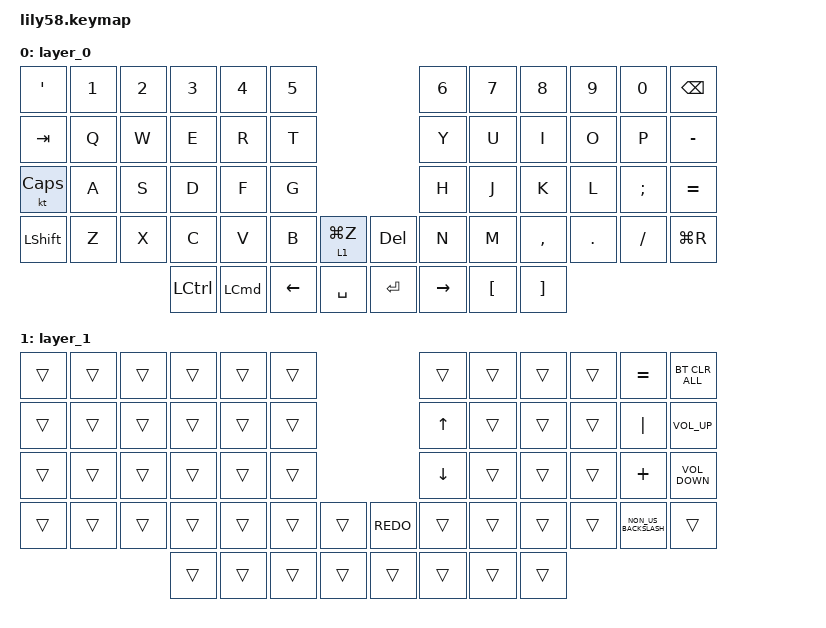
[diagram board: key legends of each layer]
#include <behaviors.dtsi>
#include <dt-bindings/zmk/bt.h>
#include <dt-bindings/zmk/keys.h>

/ {
    keymap {
        compatible = "zmk,keymap";

        layer_0 {
            bindings = <
&kp SINGLE_QUOTE  &kp NUMBER_1  &kp NUMBER_2  &kp NUMBER_3      &kp NUMBER_4      &kp N5                                     &kp NUMBER_6  &kp NUMBER_7      &kp N8             &kp NUMBER_9  &kp N0         &kp BSPC
&kp TAB           &kp Q         &kp W         &kp E             &kp R             &kp T                                      &kp Y         &kp U             &kp I              &kp O         &kp P          &kp MINUS
&kt CAPSLOCK      &kp A         &kp S         &kp D             &kp F             &kp G                                      &kp H         &kp J             &kp K              &kp L         &kp SEMICOLON  &kp EQUAL
&kp LEFT_SHIFT    &kp Z         &kp X         &kp C             &kp V             &kp B           &lt 1 LG(Z)    &kp DELETE  &kp N         &kp M             &kp COMMA          &kp PERIOD    &kp SLASH      &kp LG(R)
                                              &kp LEFT_CONTROL  &kp LEFT_COMMAND  &kp LEFT_ARROW  &kp SPACE      &kp ENTER   &kp RIGHT     &kp LEFT_BRACKET  &kp RIGHT_BRACKET
            >;
        };

        layer_1 {
            bindings = <
&trans  &trans  &trans  &trans  &trans  &trans                        &trans        &trans  &trans  &trans  &kp EQUAL             &bt BT_CLR_ALL
&trans  &trans  &trans  &trans  &trans  &trans                        &kp UP_ARROW  &trans  &trans  &trans  &kp PIPE              &kp C_VOLUME_UP
&trans  &trans  &trans  &trans  &trans  &trans                        &kp DOWN      &trans  &trans  &trans  &kp PLUS              &kp C_VOLUME_DOWN
&trans  &trans  &trans  &trans  &trans  &trans  &trans    &kp K_REDO  &trans        &trans  &trans  &trans  &kp NON_US_BACKSLASH  &trans
                        &trans  &trans  &trans  &trans    &trans      &trans        &trans  &trans
            >;
        };
    };
};
